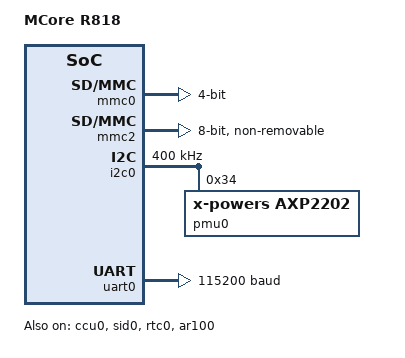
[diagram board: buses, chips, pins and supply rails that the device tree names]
// SPDX-License-Identifier: GPL-2.0+
/dts-v1/;

#include <dt-bindings/gpio/sunxi-gpio.h>

/ {
	#address-cells = <1>;
	#size-cells = <1>;
	model = "MCore R818";
	compatible = "syterkit,mcore-r818";

	aliases {
		ar100 = &ar100;
		sid0 = &sid0;
		ccu0 = &ccu0;
		dram0 = &dram0;
		i2c0 = &i2c0;
		mmc0 = &mmc0;
		mmc2 = &mmc2;
		pmu0 = &pmu0;
		rtc0 = &rtc0;
	};

	chosen {
		stdout-path = &uart0;
	};

	ccu0: clock-controller@3001000 {
		compatible = "allwinner,sun50iw10-ccu";
		reg = <0x03001000 0x1000>,
		      <0x07010000 0x1000>,
		      <0x03000000 0x1000>,
		      <0x030f0000 0x1000>;
		reg-names = "ccu", "r-prcm", "sysctrl", "iommu";
		status = "okay";
	};

	dram0: dram-controller {
		compatible = "allwinner,sun50iw10-dram";
		allwinner,dram-parameters =
			<0x318 0x8 0x07070707 0x0d0d0d0d>,
			<0x0e0e 0x0d0a050c 0x30fa 0x08001000>,
			<0x0 0x34 0x1b 0x33 0x3 0x0 0x0 0x4>,
			<0x72 0x0 0x7 0x0 0x0 0x26 0x06060606 0x04040404>,
			<0x0 0x74000000 0x48000000 0x00273333>,
			<0x201c181f 0x13151513 0x7521 0x2023211f>;
		allwinner,primary-pmu = <&pmu0>;
		status = "okay";
	};

	pio: pinctrl@300b000 {
		compatible = "allwinner,sunxi-pinctrl";
		reg = <0x0300b000 0x1000>;
		allwinner,bank-base = <SUNXI_GPIO_PORT_A>;
		allwinner,bank-count = <11>;
		gpio-controller;
		#gpio-cells = <3>;

		mmc0_pins: mmc0-pins {
			allwinner,pins =
				<SUNXI_GPIO_PORT_F 2 2>,
				<SUNXI_GPIO_PORT_F 3 2>,
				<SUNXI_GPIO_PORT_F 1 2>,
				<SUNXI_GPIO_PORT_F 0 2>,
				<SUNXI_GPIO_PORT_F 5 2>,
				<SUNXI_GPIO_PORT_F 4 2>;
		};

		mmc2_pins: mmc2-pins {
			allwinner,pins =
				<SUNXI_GPIO_PORT_C 5 3>,
				<SUNXI_GPIO_PORT_C 6 3>,
				<SUNXI_GPIO_PORT_C 10 3>,
				<SUNXI_GPIO_PORT_C 13 3>,
				<SUNXI_GPIO_PORT_C 15 3>,
				<SUNXI_GPIO_PORT_C 8 3>,
				<SUNXI_GPIO_PORT_C 9 3>,
				<SUNXI_GPIO_PORT_C 11 3>,
				<SUNXI_GPIO_PORT_C 14 3>,
				<SUNXI_GPIO_PORT_C 16 3>,
				<SUNXI_GPIO_PORT_C 0 3>,
				<SUNXI_GPIO_PORT_C 1 3>;
		};

		uart0_pins: uart0-pins {
			allwinner,pins =
				<SUNXI_GPIO_PORT_B 9 2>,
				<SUNXI_GPIO_PORT_B 10 2>;
		};
	};

	r_pio: pinctrl@7022000 {
		compatible = "allwinner,sunxi-pinctrl";
		reg = <0x07022000 0x1000>;
		allwinner,bank-base = <SUNXI_GPIO_PORT_L>;
		allwinner,bank-count = <3>;
		gpio-controller;
		#gpio-cells = <3>;

		i2c0_pins: i2c0-pins {
			allwinner,pins =
				<SUNXI_GPIO_PORT_L 0 2>,
				<SUNXI_GPIO_PORT_L 1 2>;
		};
	};

	reserved-memory {
		#address-cells = <1>;
		#size-cells = <1>;
		ranges;

		mmc0_dma: dma-descriptors@50080000 {
			reg = <0x50080000 0x100000>;
			no-map;
		};

		mmc2_dma: dma-descriptors@50880000 {
			reg = <0x50880000 0x100000>;
			no-map;
		};

		ar100_sram: sram@100000 {
			reg = <0x00100000 0x00014000>;
			no-map;
		};
	};

	soc {
		compatible = "simple-bus";
		#address-cells = <1>;
		#size-cells = <1>;
		ranges;

		sid0: efuse@3006000 {
			compatible = "allwinner,sunxi-sid";
			reg = <0x03006000 0x400>;
			allwinner,efuse-hv-switch = <0x07000204>;
			status = "okay";
		};

		rtc0: rtc@7000100 {
			compatible = "allwinner,sunxi-rtc";
			reg = <0x07000100 0x100>;
			status = "okay";
		};

		ar100: remoteproc@7000400 {
			compatible = "allwinner,sun50iw10-ar100";
			reg = <0x03000000 0x1000>,
			      <0x07000400 0x400>;
			firmware-name = "ar100s.bin";
			memory-region = <&ar100_sram>;
			allwinner,firmware-format = "raw";
			allwinner,entry-address = <0>;
			allwinner,address-map =
				<0x00000000 0x00000fff 0x00100000>,
				<0x00001000 0xffffffff 0x00104000>;
			allwinner,rtc = <&rtc0>;
			status = "okay";
		};

		mmc0: mmc@4020000 {
			compatible = "allwinner,sunxi-mmc";
			reg = <0x04020000 0x1000>;
			label = "SD Card";
			allwinner,mmc-id = <0>;
			bus-width = <4>;
			max-frequency = <50000000>;
			memory-region = <&mmc0_dma>;
			allwinner,clock-gate = <0x0300184c 0>;
			allwinner,reset = <0x0300184c 16>;
			allwinner,module-clock =
				<0x03001830 8 0 1>;
			allwinner,clock-source-rates =
				<24000000 300000000 600000000 0>;
			pinctrl-names = "default";
			pinctrl-0 = <&mmc0_pins>;
			status = "okay";
		};

		mmc2: mmc@4022000 {
			compatible = "allwinner,sunxi-mmc";
			reg = <0x04022000 0x1000>;
			label = "eMMC";
			allwinner,mmc-id = <2>;
			bus-width = <8>;
			max-frequency = <50000000>;
			non-removable;
			memory-region = <&mmc2_dma>;
			allwinner,clock-gate = <0x0300184c 2>;
			allwinner,reset = <0x0300184c 18>;
			allwinner,module-clock =
				<0x03001838 8 0 1>;
			allwinner,clock-source-rates =
				<24000000 400000000 800000000 0>;
			pinctrl-names = "default";
			pinctrl-0 = <&mmc2_pins>;
			status = "okay";
		};

		i2c0: i2c@7081400 {
			compatible = "allwinner,sunxi-i2c";
			#address-cells = <1>;
			#size-cells = <0>;
			reg = <0x07081400 0x400>;
			clock-frequency = <400000>;
			allwinner,i2c-id = <6>;
			allwinner,parent-clock-frequency = <24000000>;
			allwinner,clock-gate = <0x0701019c 0>;
			allwinner,reset = <0x0701019c 16>;
			pinctrl-names = "default";
			pinctrl-0 = <&i2c0_pins>;
			status = "okay";

			pmu0: pmic@34 {
				compatible = "x-powers,axp2202";
				reg = <0x34>, <0x35>;
				status = "okay";
			};
		};

		uart0: serial@5000000 {
			compatible = "allwinner,sunxi-uart";
			reg = <0x05000000 0x400>;
			current-speed = <115200>;
			clock-frequency = <24000000>;
			allwinner,uart-id = <0>;
			allwinner,clock-gate = <0x0300190c 0>;
			allwinner,reset = <0x0300190c 16>;
			pinctrl-names = "default";
			pinctrl-0 = <&uart0_pins>;
			status = "okay";
		};
	};
};
